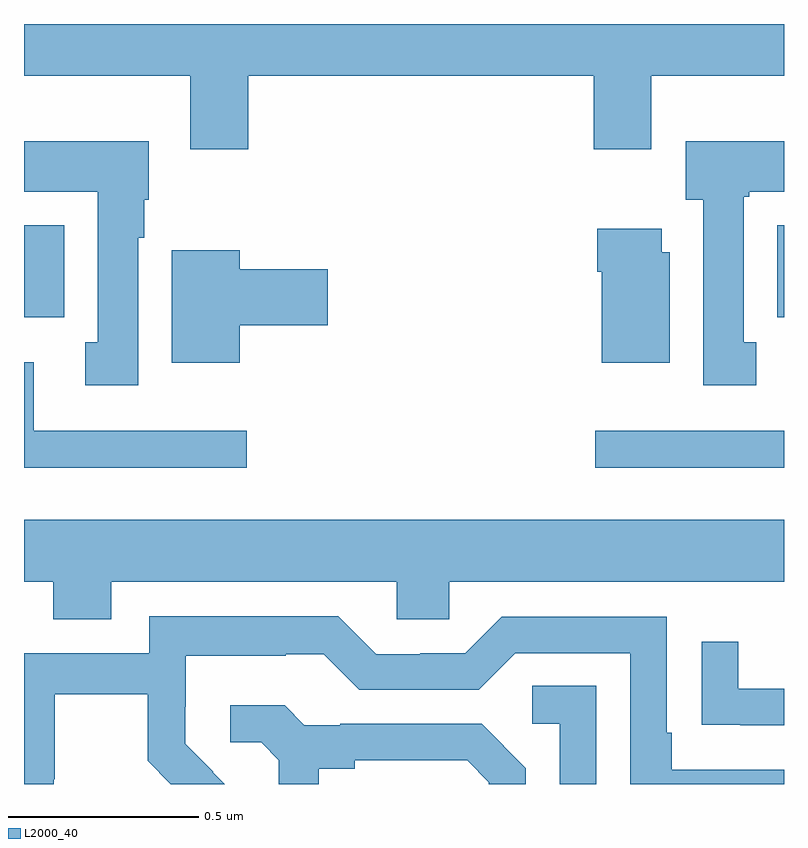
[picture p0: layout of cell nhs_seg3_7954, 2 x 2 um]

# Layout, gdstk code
import gdstk
lib = gdstk.Library(unit=1e-6, precision=1e-09)
def R(c, l, rs):  # rectangles x0, y0, x1, y1
    for r in rs: c.add(gdstk.rectangle(r[:2], r[2:], *l))
def P(c, l, *ps):  # polygons
    for p in ps: c.add(gdstk.Polygon(p, *l))
L2000_40 = (2000, 40)

nhs_seg3_7954 = lib.new_cell('nhs_seg3_7954')
R(nhs_seg3_7954, L2000_40, [(211.503,685.232,212,685.329), (210,685.628,210.106,685.87), (211.982,685.628,212,685.87)])
P(nhs_seg3_7954, L2000_40, [(210.59,686.264),(211.499,686.264),(211.499,686.07),(211.651,686.07),(211.651,686.264),(212,686.264),(212,686.4),(210,686.4),(210,686.264),(210.437,686.264),(210.437,686.07),(210.59,686.07)],
  [(211.927,685.562),(211.894,685.562),(211.894,685.945),(211.908,685.945),(211.908,685.958),(212,685.958),(212,686.092),(211.742,686.092),(211.742,685.938),(211.787,685.938),(211.787,685.449),(211.927,685.449)],
  [(210.301,685.838),(210.316,685.838),(210.316,685.938),(210.328,685.938),(210.328,686.092),(210,686.092),(210,685.958),(210.194,685.958),(210.194,685.562),(210.161,685.562),(210.161,685.449),(210.301,685.449)],
  [(211.699,685.8),(211.678,685.8),(211.678,685.861),(211.508,685.861),(211.508,685.748),(211.52,685.748),(211.52,685.508),(211.699,685.508)],
  [(210.568,685.607),(210.799,685.607),(210.799,685.754),(210.568,685.754),(210.568,685.804),(210.389,685.804),(210.389,685.508),(210.568,685.508)],
  [(210.586,685.329),(210.025,685.329),(210.025,685.51),(210,685.51),(210,685.232),(210.586,685.232)],
  [(210.229,684.932),(210.981,684.932),(210.981,684.834),(211.119,684.834),(211.119,684.932),(212,684.932),(212,685.096),(210,685.096),(210,684.932),(210.077,684.932),(210.077,684.833),(210.229,684.833)],
  [(210.078,684.412),(210.081,684.412),(210.081,684.636),(210.325,684.636),(210.325,684.461),(210.386,684.4),(210.528,684.4),(210.497,684.431),(210.498,684.432),(210.424,684.506),(210.424,684.603),(210.426,684.603),(210.426,684.737),(210.689,684.737),(210.689,684.741),(210.789,684.741),(210.882,684.648),(211.197,684.648),(211.293,684.744),(211.596,684.744),(211.596,684.4),(212,684.4),(212,684.438),(211.705,684.438),(211.705,684.535),(211.692,684.535),(211.692,684.84),(211.257,684.84),(211.161,684.744),(211.043,684.744),(211.043,684.741),(210.927,684.741),(210.827,684.841),(210.33,684.841),(210.33,684.744),(210,684.744),(210,684.4),(210.078,684.4)],
  [(212,684.651),(211.879,684.651),(211.879,684.775),(211.783,684.775),(211.783,684.556),(211.885,684.556),(211.885,684.555),(212,684.555)],
  [(211.506,684.659),(211.338,684.659),(211.338,684.558),(211.41,684.558),(211.41,684.4),(211.506,684.4)],
  [(210.775,684.44),(210.871,684.44),(210.871,684.462),(211.166,684.462),(211.223,684.405),(211.223,684.4),(211.32,684.4),(211.32,684.442),(211.204,684.558),(210.832,684.558),(210.832,684.555),(210.738,684.555),(210.686,684.607),(210.543,684.607),(210.543,684.51),(210.624,684.51),(210.671,684.463),(210.671,684.4),(210.775,684.4)])

lib.write_gds('nhs_seg3_7954.gds')
